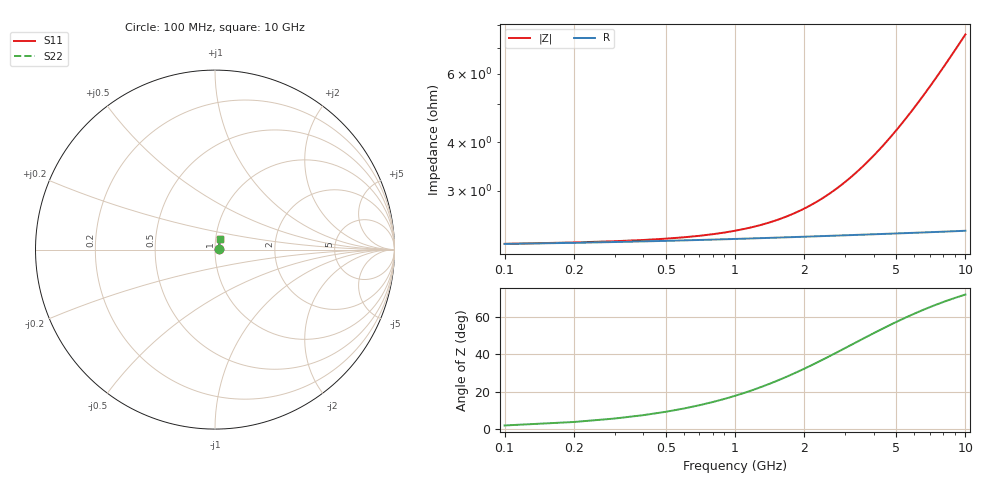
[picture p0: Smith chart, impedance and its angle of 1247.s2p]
# Hz S RI R 50.00
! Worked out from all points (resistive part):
!   100 points, 100 MHz to 10 GHz, reference 50 ohm
!   read as one part in series: R = 2.19 ohm at 100 MHz
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1e8  0.0214 0.000578  0.9786 -0.000799  0.9786 -0.000799  0.0214 0.000578
2e8  0.0215 0.00116  0.9785 -0.0016  0.9785 -0.0016  0.0215 0.00116
7e8  0.0219 0.00404  0.9781 -0.00559  0.9781 -0.00559  0.0219 0.00404
1e9  0.0221 0.00577  0.9779 -0.00798  0.9779 -0.00798  0.0221 0.00577
1.2e9  0.0222 0.00692  0.9778 -0.00958  0.9778 -0.00958  0.0222 0.00692
1.4e9  0.0223 0.00807  0.9777 -0.0112  0.9777 -0.0112  0.0223 0.00807
1.8e9  0.0224 0.0104  0.9776 -0.0144  0.9776 -0.0144  0.0224 0.0104
2.1e9  0.0225 0.0121  0.9774 -0.0168  0.9774 -0.0168  0.0225 0.0121
2.5e9  0.0227 0.0144  0.9773 -0.0199  0.9773 -0.0199  0.0227 0.0144
2.9e9  0.0229 0.0167  0.9771 -0.0231  0.9771 -0.0231  0.0229 0.0167
3.4e9  0.0231 0.0196  0.9769 -0.0271  0.9769 -0.0271  0.0231 0.0196
4.4e9  0.0236 0.0253  0.9764 -0.0351  0.9764 -0.0351  0.0236 0.0253
5.1e9  0.024 0.0293  0.9759 -0.0406  0.9759 -0.0406  0.024 0.0293
5.9e9  0.0245 0.0339  0.9754 -0.047  0.9754 -0.047  0.0245 0.0339
6.3e9  0.0247 0.0362  0.9752 -0.0502  0.9752 -0.0502  0.0247 0.0362
6.7e9  0.025 0.0385  0.9749 -0.0533  0.9749 -0.0533  0.025 0.0385
7.1e9  0.0253 0.0408  0.9746 -0.0565  0.9746 -0.0565  0.0253 0.0408
7.5e9  0.0256 0.043  0.9743 -0.0597  0.9743 -0.0597  0.0256 0.043
7.9e9  0.0259 0.0453  0.9739 -0.0628  0.9739 -0.0628  0.0259 0.0453
8.4e9  0.0263 0.0482  0.9735 -0.0668  0.9735 -0.0668  0.0263 0.0482
9.2e9  0.027 0.0527  0.9727 -0.0731  0.9727 -0.0731  0.027 0.0527
1e10  0.0278 0.0572  0.9719 -0.0794  0.9719 -0.0794  0.0278 0.0572
